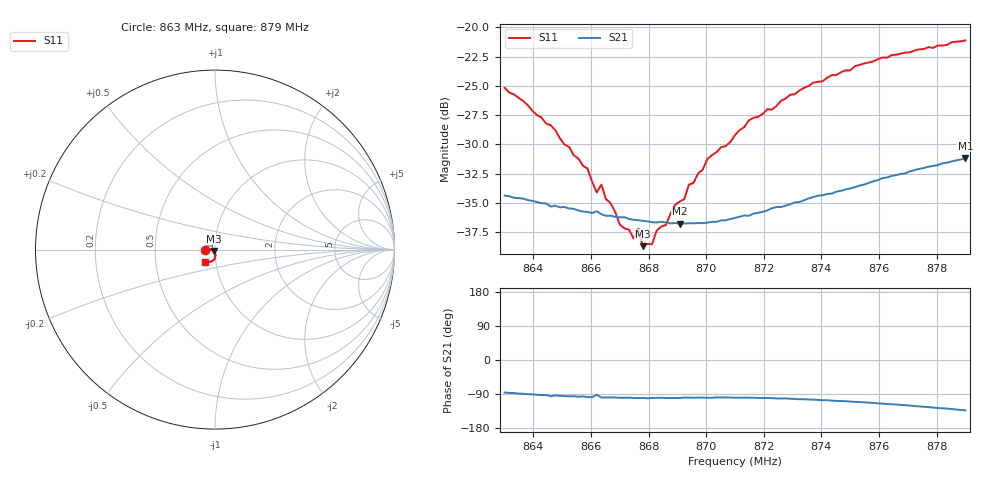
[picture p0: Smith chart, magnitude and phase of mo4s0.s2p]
# HZ S RI R 50
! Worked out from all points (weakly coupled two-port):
!   101 points, 863 MHz to 879 MHz, reference 50 ohm
!   highest |S21| = -31.16 dB at 879 MHz (marker M1); lowest = -36.8 dB at 869.08 MHz (marker M2)
!   lowest |S11| = -38.7 dB at 867.8 MHz (marker M3), VSWR 1.02, Z = 49.2 - j0.819 ohm
!   |S11| at or under -10 dB: start of sweep to end of sweep
!   S12 and S22 are empty: the file has one direction only
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8.63e8  -0.0551 -0.00269  0.00148 -0.0191  0 0  0 0
8.646e8  -0.0382 -0.000272  -0.00176 -0.0171  0 0  0 0
8.6572e8  -0.0256 -0.000618  -0.0017 -0.0163  0 0  0 0
8.6588e8  -0.0249 -0.000137  -0.00222 -0.0161  0 0  0 0
8.662e8  -0.0195 -0.00294  -0.000529 -0.0164  0 0  0 0
8.6636e8  -0.0212 -0.00175  -0.00249 -0.0157  0 0  0 0
8.67e8  -0.0139 -0.00367  -0.0026 -0.0152  0 0  0 0
8.6748e8  -0.0099 -0.00774  -0.00263 -0.0149  0 0  0 0
8.6764e8  -0.0107 -0.00873  -0.00277 -0.0147  0 0  0 0
8.678e8  -0.00813 -0.00833  -0.0026 -0.0147  0 0  0 0
8.6812e8  -0.00556 -0.0105  -0.00259 -0.0145  0 0  0 0
8.6828e8  -0.00614 -0.0121  -0.00254 -0.0145  0 0  0 0
8.6844e8  -0.00411 -0.0135  -0.00249 -0.0146  0 0  0 0
8.686e8  -0.00246 -0.0141  -0.00259 -0.0145  0 0  0 0
8.6908e8  -0.00216 -0.0179  -0.00257 -0.0143  0 0  0 0
8.6924e8  -0.00158 -0.0184  -0.00228 -0.0144  0 0  0 0
8.7004e8  0.000736 -0.0274  -0.00246 -0.0145  0 0  0 0
8.71e8  0.00156 -0.0346  -0.00252 -0.0152  0 0  0 0
8.7148e8  0.00136 -0.04  -0.00257 -0.0155  0 0  0 0
8.7372e8  -0.0055 -0.0578  -0.00478 -0.0182  0 0  0 0
8.7644e8  -0.0309 -0.0695  -0.0105 -0.0207  0 0  0 0
8.79e8  -0.0569 -0.0669  -0.0189 -0.0202  0 0  0 0
